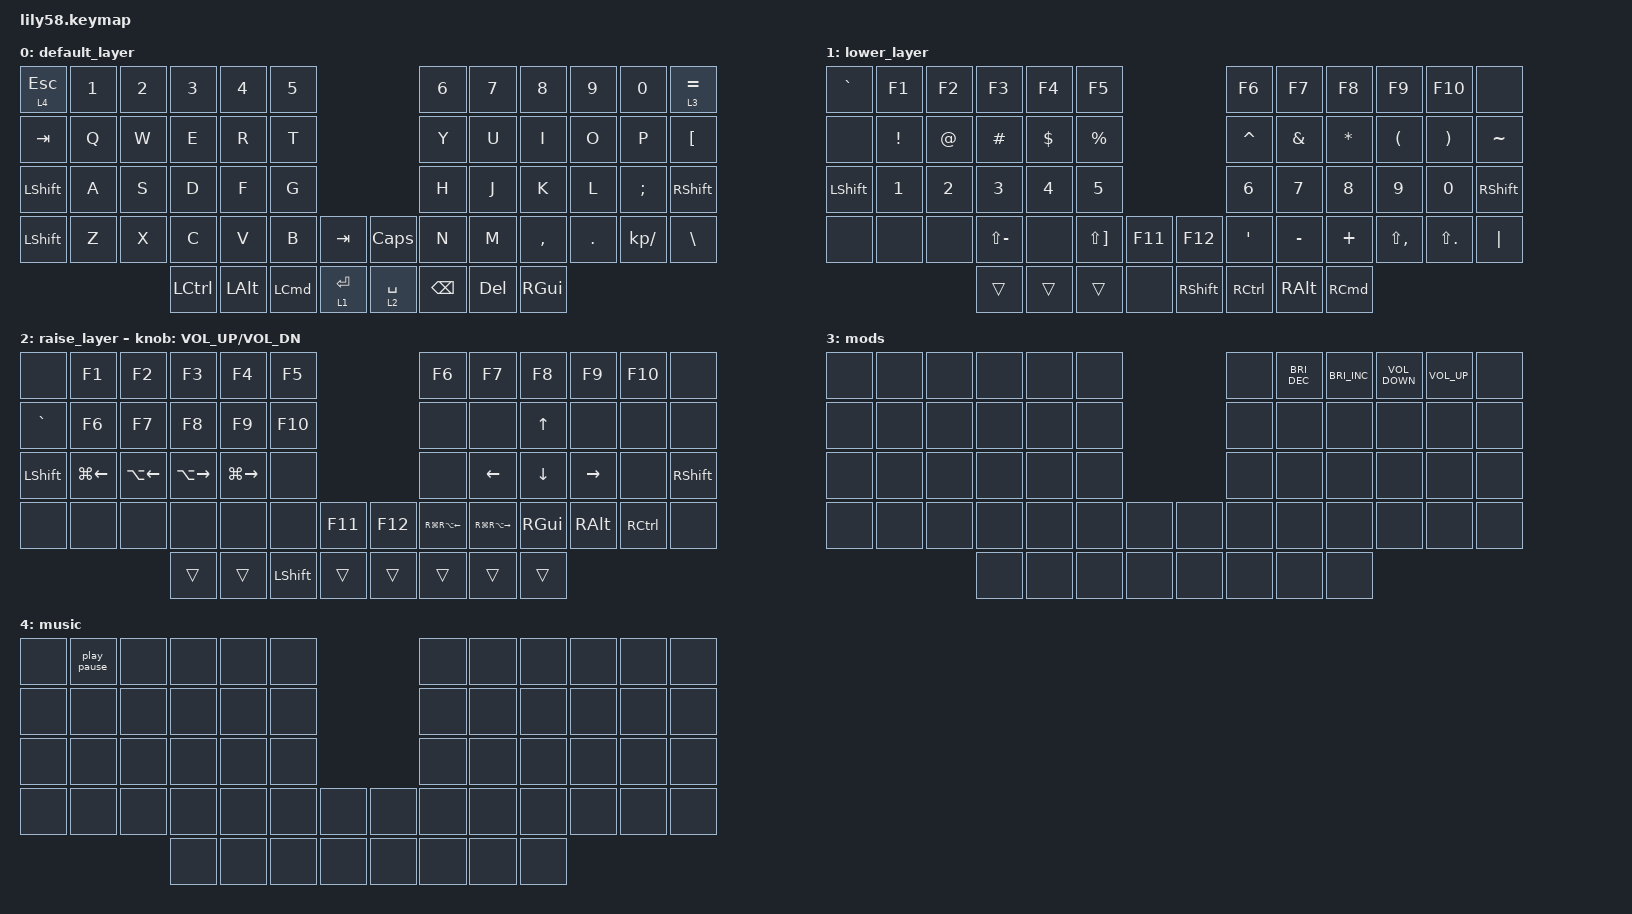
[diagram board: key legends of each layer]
/*
 * Copyright (c) 2020 The ZMK Contributors
 *
 * SPDX-License-Identifier: MIT
 */

#include <behaviors.dtsi>
#include <dt-bindings/zmk/keys.h>

/ {
    combos {
        compatible = "zmk,combos";

        combo_esc {
            timeout-ms = <50>;
            key-positions = <0 1>;
            bindings = <&kp ESC>;
        };

        skobochka-round-right {
            bindings = <&kp RIGHT_PARENTHESIS>;
            key-positions = <31 32>;
        };

        skobochka-round-left {
            bindings = <&kp LEFT_PARENTHESIS>;
            key-positions = <28 27>;
        };

        skobochka-figur-left {
            bindings = <&kp F21>;
            key-positions = <40 39>;
        };

        skobochka-figur-right {
            bindings = <&kp F22>;
            key-positions = <45 46>;
        };

        skobochka-left-square {
            bindings = <&kp F23>;
            key-positions = <29 28>;
        };

        skobochka-right-square {
            bindings = <&kp F24>;
            key-positions = <30 31>;
        };

        tochka {
            bindings = <&kp KP_NUMBER_1>;
            key-positions = <32 33>;
        };

        zapyataya {
            bindings = <&kp KP_NUMBER_2>;
            key-positions = <20 21>;
        };

        ravno {
            bindings = <&kp EQUAL>;
            key-positions = <46 47>;
        };

        qeustion {
            bindings = <&kp KP_NUMBER_3>;
            key-positions = <16 15>;
        };

        swap-ru {
            bindings = <&kp KP_NUMBER_4>;
            key-positions = <43 54>;
        };

        swap_en {
            bindings = <&kp KP_NUMBER_5>;
            key-positions = <42 53>;
        };

        dvoetochie {
            bindings = <&kp F20>;
            key-positions = <27 26>;
        };

        kavichki {
            bindings = <&kp F19>;
            key-positions = <15 14>;
        };

        tire {
            bindings = <&kp MINUS>;
            key-positions = <39 38>;
        };
    };

    behaviors {
        ss_hs_modmorph: ss_hs_modmorph {
            compatible = "zmk,behavior-mod-morph";
            label = "SS_HS_MODMORPH";
            bindings = <&kp M>, <&kp RIGHT_BRACKET>;

            #binding-cells = <0>;
            mods = <(MOD_LSFT|MOD_RSFT)>;
        };

        kh_hs_tapdance: kh_hs_tapdance {
            compatible = "zmk,behavior-tap-dance";
            label = "KH_HS_TAPDANCE";
            #binding-cells = <0>;
            tapping-term-ms = <200>;
            bindings = <&kp LEFT_BRACKET>, <&kp RIGHT_BRACKET>;
        };

        hrm: hrm {
            compatible = "zmk,behavior-hold-tap";
            #binding-cells = <2>;
            flavor = "tap-preferred";
            tapping-term-ms = <200>;
            quick-tap-ms = <200>;
            require-prior-idle-ms = <125>;
            bindings = <&kp>, <&kp>;
        };
    };

    macros {
        play_pause: play_pause {
            compatible = "zmk,behavior-macro";
            #binding-cells = <0>;
            bindings =
                <&macro_press>,
                <&kp LEFT_GUI>,
                <&macro_tap>,
                <&kp NUMBER_1>,
                <&macro_release>,
                <&kp LEFT_GUI>;

            label = "PLAY_PAUSE";
        };

        scroll_down: scroll_down {
            compatible = "zmk,behavior-macro";
            #binding-cells = <0>;
            bindings = <&kp DOWN_ARROW &kp DOWN_ARROW &kp DOWN_ARROW &kp DOWN_ARROW &kp DOWN_ARROW>;
            label = "SCROLL_DOWN";
        };

        scroll_up: scroll_up {
            compatible = "zmk,behavior-macro";
            #binding-cells = <0>;
            bindings = <&kp UP_ARROW &kp UP_ARROW &kp UP_ARROW &kp UP_ARROW &kp UP_ARROW>;
            label = "SCROLL_UP";
        };
    };

    keymap {
        compatible = "zmk,keymap";

        default_layer {
            // ------------------------------------------------------------------------------------------------------------
            // |  ESC  |  1  |  2  |  3   |  4   |  5   |                   |  6   |  7    |  8    |  9   |   0   |   `   |
            // |  TAB  |  Q  |  W  |  E   |  R   |  T   |                   |  Y   |  U    |  I    |  O   |   P   |   -   |
            // |  CTRL |  A  |  S  |  D   |  F   |  G   |                   |  H   |  J    |  K    |  L   |   ;   |   '   |
            // | SHIFT |  Z  |  X  |  C   |  V   |  B   |   "["  |  |  "]"  |  N   |  M    |  ,    |  .   |   /   | SHIFT |
            //                     | ALT  | GUI  | LOWER|  SPACE |  | ENTER | RAISE| BSPC  | GUI   |

            bindings = <
&lt 4 ESCAPE    &kp NUMBER_1  &kp NUMBER_2  &kp NUMBER_3  &kp NUMBER_4  &kp NUMBER_5                                   &kp NUMBER_6   &kp NUMBER_7  &kp NUMBER_8  &kp NUMBER_9  &kp NUMBER_0   &lt 3 EQUAL
&kp TAB         &kp Q         &kp W         &kp E         &kp R         &kp T                                          &kp Y          &kp U         &kp I         &kp O         &kp P          &kp LEFT_BRACKET
&kp LEFT_SHIFT  &kp A         &kp S         &kp D         &kp F         &kp G                                          &kp H          &kp J         &kp K         &kp L         &kp SEMI       &kp RSHIFT
&kp LSHFT       &kp Z         &kp X         &kp C         &kp V         &kp B             &kp TAB        &kp CAPSLOCK  &kp N          &kp M         &kp COMMA     &kp DOT       &kp KP_DIVIDE  &kp BACKSLASH
                                            &kp LCTRL     &kp LALT      &kp LEFT_COMMAND  &lt 1 ENTER    &lt 2 SPACE   &kp BACKSPACE  &kp DELETE    &kp RGUI
            >;
        };

        lower_layer {
            // ------------------------------------------------------------------------------------------------------------
            // | BTCLR | BT1 | BT2 |  BT3 |  BT4 |  BT5 |                   |      |       |       |      |       |       |
            // |  F1   |  F2 |  F3 |  F4  |  F5  |  F6  |                   |  F7  |  F8   |  F9   |  F10 |  F11  |  F12  |
            // |   `   |  !  |  @  |  #   |  $   |  %   |                   |  ^   |  &    |  *    |  (   |   )   |   ~   |
            // |       |     |     |      |      |      |        |  |       |      |  _    |  +    |  {   |   }   |  "|"  |
            //                     |      |      |      |        |  |       |      |       |       |

            bindings = <
&kp GRAVE  &kp F1           &kp F2        &kp F3         &kp F4        &kp F5                                             &kp F6             &kp F7         &kp F8             &kp F9                &kp F10                &none
&none      &kp EXCLAMATION  &kp AT_SIGN   &kp HASH       &kp DOLLAR    &kp PERCENT                                        &kp CARET          &kp AMPERSAND  &kp ASTERISK       &kp LEFT_PARENTHESIS  &kp RIGHT_PARENTHESIS  &kp TILDE
&kp LSHFT  &kp NUMBER_1     &kp NUMBER_2  &kp NUMBER_3   &kp NUMBER_4  &kp NUMBER_5                                       &kp NUMBER_6       &kp NUMBER_7   &kp NUMBER_8       &kp NUMBER_9          &kp NUMBER_0           &kp RSHFT
&none      &none            &none         &kp LS(MINUS)  &none         &kp LS(RIGHT_BRACKET)  &kp F11    &kp F12          &kp SINGLE_QUOTE   &kp MINUS      &kp PLUS           &kp LS(COMMA)         &kp LS(DOT)            &kp PIPE
                                          &trans         &trans        &trans                 &none      &kp RIGHT_SHIFT  &kp RIGHT_CONTROL  &kp RIGHT_ALT  &kp RIGHT_COMMAND
            >;
        };

        raise_layer {
            // ------------------------------------------------------------------------------------------------------------
            // |       |     |     |      |      |      |                   |      |       |       |      |       |       |
            // |   `   |  1  |  2  |  3   |  4   |  5   |                   |  6   |   7   |   8   |  9   |   0   |       |
            // |   F1  |  F2 |  F3 |  F4  |  F5  |  F6  |                   |      |   <-  |   v   |  ^   |  ->   |       |
            // |   F7  |  F8 |  F9 |  F10 |  F11 |  F12 |        |  |       |  +   |   -   |   =   |  [   |   ]   |   \   |
            //                     |      |      |      |        |  |       |      |       |       |

            bindings = <
&none      &kp F1        &kp F2              &kp F3         &kp F4         &kp F5                         &kp F6                  &kp F7             &kp F8        &kp F9           &kp F10    &none
&kp GRAVE  &kp F6        &kp F7              &kp F8         &kp F9         &kp F10                        &none                   &none              &kp UP_ARROW  &none            &none      &none
&kp LSHFT  &kp LG(LEFT)  &kp LA(LEFT_ARROW)  &kp LA(RIGHT)  &kp LG(RIGHT)  &none                          &none                   &kp LEFT           &kp DOWN      &kp RIGHT_ARROW  &none      &kp RSHFT
&none      &none         &none               &none          &none          &none      &kp F11    &kp F12  &kp RG(RA(LEFT_ARROW))  &kp RG(RA(RIGHT))  &kp RGUI      &kp RALT         &kp RCTRL  &none
                                             &trans         &trans         &kp LSHFT  &trans     &trans   &trans                  &trans             &trans
            >;

            sensor-bindings = <&inc_dec_kp C_VOL_UP C_VOL_DN>;
        };

        mods {
            bindings = <
&none  &none  &none  &none  &none  &none                  &none  &kp C_BRIGHTNESS_DEC  &kp C_BRIGHTNESS_INC  &kp C_VOLUME_DOWN  &kp C_VOLUME_UP  &none
&none  &none  &none  &none  &none  &none                  &none  &none                 &none                 &none              &none            &none
&none  &none  &none  &none  &none  &none                  &none  &none                 &none                 &none              &none            &none
&none  &none  &none  &none  &none  &none  &none    &none  &none  &none                 &none                 &none              &none            &none
                     &none  &none  &none  &none    &none  &none  &none                 &none
            >;
        };

        music {
            bindings = <
&none  &play_pause  &none  &none  &none  &none                  &none  &none  &none  &none  &none  &none
&none  &none        &none  &none  &none  &none                  &none  &none  &none  &none  &none  &none
&none  &none        &none  &none  &none  &none                  &none  &none  &none  &none  &none  &none
&none  &none        &none  &none  &none  &none  &none    &none  &none  &none  &none  &none  &none  &none
                           &none  &none  &none  &none    &none  &none  &none  &none
            >;
        };
    };
};
